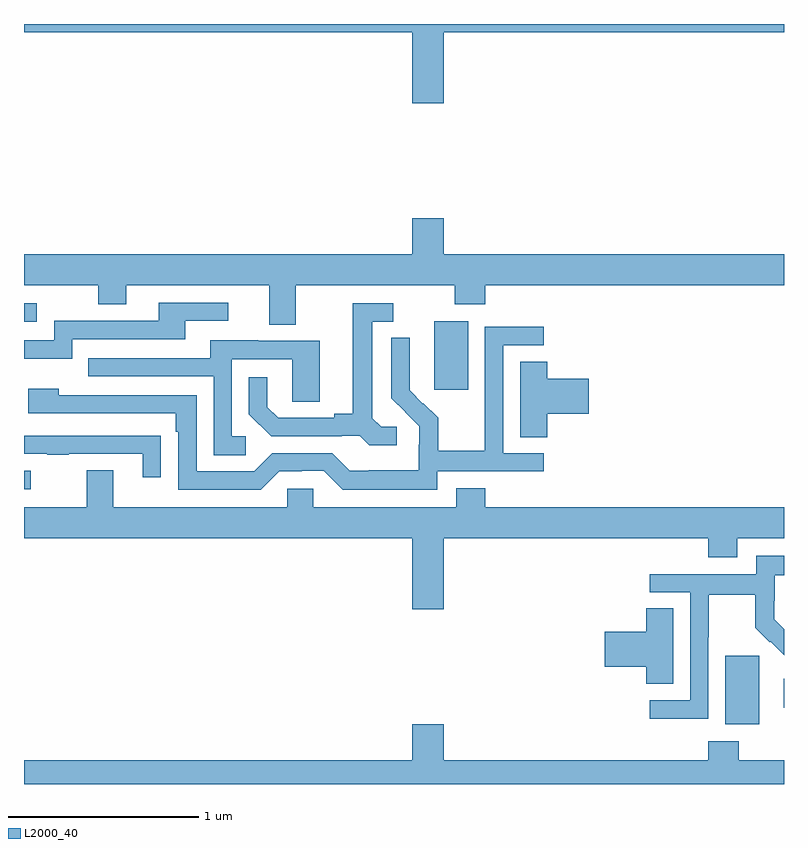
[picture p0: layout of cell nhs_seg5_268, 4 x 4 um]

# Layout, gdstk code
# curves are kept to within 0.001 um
import gdstk
lib = gdstk.Library(unit=1e-6, precision=1e-09)
def R(c, l, rs):  # rectangles x0, y0, x1, y1
    for r in rs: c.add(gdstk.rectangle(r[:2], r[2:], *l))
def P(c, l, *ps):  # polygons
    for p in ps: c.add(gdstk.Polygon(p, *l))
L2000_40 = (2000, 40)

nhs_seg5_268 = lib.new_cell('nhs_seg5_268')
R(nhs_seg5_268, L2000_40, [(130.691,857.114,130.87,857.475), (130.998,857.2,131,857.354), (127,858.351,127.036,858.447), (129.158,858.873,129.337,859.234), (127,859.233,127.066,859.329)])
P(nhs_seg5_268, L2000_40, [(129.208,860.756),(131,860.756),(131,860.799),(127,860.799),(127,860.756),(129.044,860.756),(129.044,860.382),(129.208,860.382)],
  [(127,859.424),(127.39,859.424),(127.39,859.325),(127.537,859.325),(127.537,859.424),(128.291,859.424),(128.291,859.216),(128.431,859.216),(128.431,859.424),(129.268,859.424),(129.268,859.325),(129.428,859.325),(129.428,859.424),(131,859.424),(131,859.588),(129.208,859.588),(129.208,859.777),(129.044,859.777),(129.044,859.588),(127,859.588)],
  [(127.254,859.14),(127.849,859.14),(127.849,859.236),(128.074,859.236),(128.074,859.332),(127.709,859.332),(127.709,859.236),(127.158,859.236),(127.158,859.134),(127,859.134),(127,859.037),(127.254,859.037)],
  [(128.962,858.678),(128.88,858.678),(128.833,858.725),(128.833,859.233),(128.944,859.233),(128.944,859.329),(128.729,859.329),(128.729,858.749),(128.633,858.749),(128.633,858.726),(128.338,858.726),(128.281,858.783),(128.281,858.94),(128.184,858.94),(128.184,858.746),(128.3,858.63),(128.672,858.63),(128.672,858.633),(128.766,858.633),(128.818,858.581),(128.962,858.581)],
  [(129.174,858.444),(129.736,858.444),(129.736,858.54),(129.522,858.54),(129.522,859.107),(129.736,859.107),(129.736,859.206),(129.426,859.206),(129.426,858.776),(129.424,858.776),(129.424,858.553),(129.179,858.553),(129.179,858.727),(129.102,858.804),(129.099,858.801),(129.029,858.872),(129.03,859.148),(128.934,859.148),(128.934,858.83),(129.08,858.682),(129.08,858.585),(129.078,858.585),(129.078,858.451),(128.815,858.451),(128.815,858.447),(128.715,858.447),(128.622,858.54),(128.307,858.54),(128.211,858.444),(127.908,858.444),(127.908,858.846),(127.184,858.846),(127.184,858.88),(127.023,858.88),(127.023,858.75),(127.799,858.75),(127.799,858.653),(127.812,858.653),(127.812,858.348),(128.247,858.348),(128.343,858.444),(128.462,858.444),(128.462,858.447),(128.577,858.447),(128.677,858.347),(129.174,858.347)],
  [(128.167,858.63),(128.094,858.63),(128.094,859.035),(128.412,859.035),(128.412,858.811),(128.557,858.811),(128.557,859.131),(128.233,859.131),(128.233,859.135),(127.979,859.135),(127.979,859.041),(127.339,859.041),(127.339,858.945),(127.998,858.945),(127.998,858.529),(128.167,858.529)],
  [(129.755,858.749),(129.973,858.749),(129.973,858.932),(129.755,858.932),(129.755,859.022),(129.611,859.022),(129.611,858.625),(129.755,858.625)],
  [(127.721,858.632),(127.619,858.632),(127.619,858.633),(127,858.633),(127,858.537),(127.123,858.537),(127.123,858.532),(127.235,858.532),(127.235,858.537),(127.625,858.537),(127.625,858.414),(127.721,858.414)],
  [(129.208,858.092),(130.601,858.092),(130.601,857.993),(130.753,857.993),(130.753,858.092),(131,858.092),(131,858.256),(129.428,858.256),(129.428,858.355),(129.275,858.355),(129.275,858.256),(128.523,858.256),(128.523,858.354),(128.385,858.354),(128.385,858.256),(127.471,858.256),(127.471,858.451),(127.331,858.451),(127.331,858.256),(127,858.256),(127,858.092),(129.044,858.092),(129.044,857.718),(129.208,857.718)],
  [(130.602,857.572),(130.605,857.572),(130.605,857.796),(130.849,857.796),(130.849,857.621),(130.926,857.544),(130.929,857.547),(131,857.477),(131,857.614),(130.948,857.666),(130.948,857.763),(130.95,857.763),(130.95,857.897),(131,857.897),(131,858.001),(130.854,858.001),(130.854,857.904),(130.293,857.904),(130.293,857.808),(130.506,857.808),(130.506,857.241),(130.293,857.241),(130.293,857.143),(130.602,857.143)],
  [(130.417,857.723),(130.274,857.723),(130.274,857.6),(130.056,857.6),(130.056,857.417),(130.274,857.417),(130.274,857.326),(130.417,857.326)],
  [(131,856.924),(130.761,856.924),(130.761,857.023),(130.601,857.023),(130.601,856.924),(129.208,856.924),(129.208,857.113),(129.044,857.113),(129.044,856.924),(127,856.924),(127,856.799),(131,856.799)])

lib.write_gds('nhs_seg5_268.gds')
